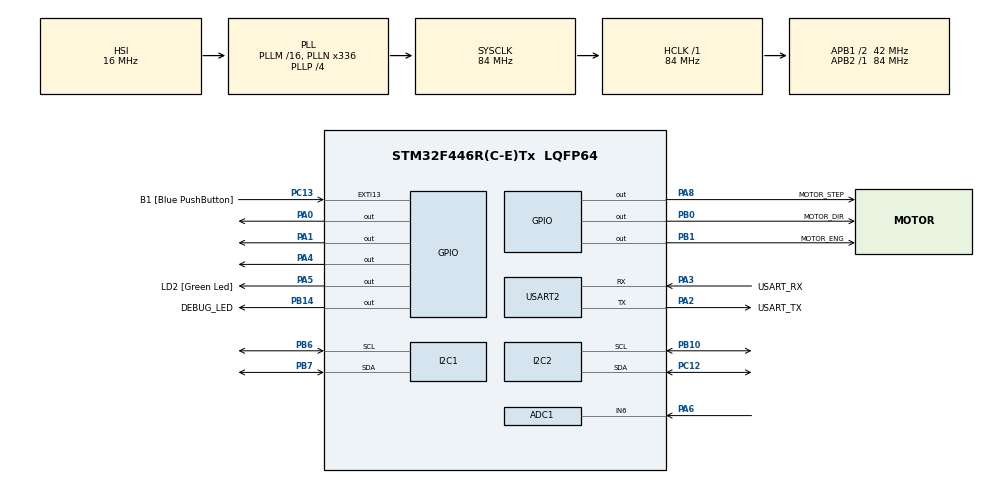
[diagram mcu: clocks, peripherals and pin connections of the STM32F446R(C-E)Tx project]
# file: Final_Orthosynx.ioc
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ADC1.Channel-0\#ChannelRegularConversion=ADC_CHANNEL_6
ADC1.NbrOfConversionFlag=1
ADC1.Rank-0\#ChannelRegularConversion=1
ADC1.SamplingTime-0\#ChannelRegularConversion=ADC_SAMPLETIME_3CYCLES
ADC1.master=1
Dma.I2C2_RX.1.Direction=DMA_PERIPH_TO_MEMORY
Dma.I2C2_RX.1.FIFOMode=DMA_FIFOMODE_DISABLE
Dma.I2C2_RX.1.Instance=DMA1_Stream2
Dma.I2C2_RX.1.MemDataAlignment=DMA_MDATAALIGN_BYTE
Dma.I2C2_RX.1.MemInc=DMA_MINC_ENABLE
Dma.I2C2_RX.1.Mode=DMA_NORMAL
Dma.I2C2_RX.1.PeriphDataAlignment=DMA_PDATAALIGN_BYTE
Dma.I2C2_RX.1.PeriphInc=DMA_PINC_DISABLE
Dma.I2C2_RX.1.Priority=DMA_PRIORITY_LOW
Dma.I2C2_TX.2.Direction=DMA_MEMORY_TO_PERIPH
Dma.I2C2_TX.2.FIFOMode=DMA_FIFOMODE_DISABLE
Dma.I2C2_TX.2.Instance=DMA1_Stream7
Dma.I2C2_TX.2.MemDataAlignment=DMA_MDATAALIGN_BYTE
Dma.I2C2_TX.2.MemInc=DMA_MINC_ENABLE
Dma.I2C2_TX.2.Mode=DMA_NORMAL
Dma.I2C2_TX.2.PeriphDataAlignment=DMA_PDATAALIGN_BYTE
Dma.I2C2_TX.2.PeriphInc=DMA_PINC_DISABLE
Dma.I2C2_TX.2.Priority=DMA_PRIORITY_LOW
Dma.Request0=USART2_TX
Dma.Request1=I2C2_RX
Dma.Request2=I2C2_TX
Dma.USART2_TX.0.Direction=DMA_MEMORY_TO_PERIPH
Dma.USART2_TX.0.FIFOMode=DMA_FIFOMODE_DISABLE
Dma.USART2_TX.0.Instance=DMA1_Stream6
Dma.USART2_TX.0.MemDataAlignment=DMA_MDATAALIGN_BYTE
Dma.USART2_TX.0.MemInc=DMA_MINC_ENABLE
Dma.USART2_TX.0.Mode=DMA_NORMAL
Dma.USART2_TX.0.PeriphDataAlignment=DMA_PDATAALIGN_BYTE
Dma.USART2_TX.0.PeriphInc=DMA_PINC_DISABLE
Dma.USART2_TX.0.Priority=DMA_PRIORITY_LOW
Mcu.Family=STM32F4
Mcu.Name=STM32F446R(C-E)Tx
Mcu.Package=LQFP64
NVIC.DMA1_Stream2_IRQn=true\:0\:0\:false\:false\:true\:false\:true\:true
NVIC.DMA1_Stream6_IRQn=true\:0\:0\:false\:false\:true\:false\:true\:true
NVIC.DMA1_Stream7_IRQn=true\:0\:0\:false\:false\:true\:false\:true\:true
NVIC.I2C1_ER_IRQn=true\:0\:0\:false\:false\:true\:true\:true\:true
NVIC.I2C1_EV_IRQn=true\:0\:0\:false\:false\:true\:true\:true\:true
NVIC.I2C2_ER_IRQn=true\:0\:0\:false\:false\:true\:true\:true\:true
NVIC.I2C2_EV_IRQn=true\:0\:0\:false\:false\:true\:true\:true\:true
NVIC.PriorityGroup=NVIC_PRIORITYGROUP_0
NVIC.TIM2_IRQn=true\:0\:0\:false\:false\:true\:true\:true\:true
NVIC.TIM3_IRQn=true\:0\:0\:false\:false\:true\:true\:true\:true
NVIC.USART2_IRQn=true\:0\:0\:false\:false\:true\:true\:true\:true
PA0-WKUP.Signal=GPIO_Output
PA1.Signal=GPIO_Output
PA13.GPIO_Label=TMS
PA13.Mode=Serial_Wire
PA13.Signal=SYS_JTMS-SWDIO
PA14.GPIO_Label=TCK
PA14.Mode=Serial_Wire
PA14.Signal=SYS_JTCK-SWCLK
PA2.GPIO_Label=USART_TX
PA2.Mode=Asynchronous
PA2.Signal=USART2_TX
PA3.GPIO_Label=USART_RX
PA3.Mode=Asynchronous
PA3.Signal=USART2_RX
PA4.Signal=GPIO_Output
PA5.GPIO_Label=LD2 [Green Led]
PA5.Signal=GPIO_Output
PA6.Signal=ADCx_IN6
PA8.GPIO_Label=MOTOR_STEP
PA8.Signal=GPIO_Output
PB0.GPIO_Label=MOTOR_DIR
PB0.Signal=GPIO_Output
PB1.GPIO_Label=MOTOR_ENG
PB1.Signal=GPIO_Output
PB10.Mode=I2C
PB10.Signal=I2C2_SCL
PB14.GPIO_Label=DEBUG_LED
PB14.Signal=GPIO_Output
PB3.GPIO_Label=SWO
PB3.Signal=SYS_JTDO-SWO
PB6.Mode=I2C
PB6.Signal=I2C1_SCL
PB7.Mode=I2C
PB7.Signal=I2C1_SDA
PC12.Mode=I2C
PC12.Signal=I2C2_SDA
PC13.GPIO_Label=B1 [Blue PushButton]
PC13.GPIO_ModeDefaultEXTI=GPIO_MODE_IT_FALLING
PC13.Signal=GPXTI13
PC14-OSC32_IN.Mode=LSE-External-Oscillator
PC14-OSC32_IN.Signal=RCC_OSC32_IN
PC15-OSC32_OUT.Mode=LSE-External-Oscillator
PC15-OSC32_OUT.Signal=RCC_OSC32_OUT
PH0-OSC_IN.Mode=HSE-External-Oscillator
PH0-OSC_IN.Signal=RCC_OSC_IN
PH1-OSC_OUT.Mode=HSE-External-Oscillator
PH1-OSC_OUT.Signal=RCC_OSC_OUT
ProjectManager.HeapSize=0x200
ProjectManager.StackSize=0x400
ProjectManager.TargetToolchain=STM32CubeIDE
RCC.48MHZClocksFreq_Value=84000000
RCC.AHBFreq_Value=84000000
RCC.APB1CLKDivider=RCC_HCLK_DIV2
RCC.APB1Freq_Value=42000000
RCC.APB1TimFreq_Value=84000000
RCC.APB2Freq_Value=84000000
RCC.APB2TimFreq_Value=84000000
RCC.CortexFreq_Value=84000000
RCC.FLatency-AdvancedSettings=FLASH_LATENCY_2
RCC.HCLKFreq_Value=84000000
RCC.HSE_VALUE=8000000
RCC.HSI_VALUE=16000000
RCC.PLLN=336
RCC.PLLP=RCC_PLLP_DIV4
RCC.SYSCLKFreq_VALUE=84000000
RCC.SYSCLKSource=RCC_SYSCLKSOURCE_PLLCLK
RCC.USBFreq_Value=168000000
RCC.VCOOutputFreq_Value=336000000
SH.ADCx_IN6.0=ADC1_IN6,IN6
TIM3.Period=99
USART2.OverSampling=UART_OVERSAMPLING_8
USART2.VirtualMode=VM_ASYNC
VP_TIM2_VS_ClockSourceINT.Mode=Internal
VP_TIM3_VS_ClockSourceINT.Mode=Internal
VP_WWDG_VS_WWDG.Mode=WWDG_Activate
board=NUCLEO-F446RE

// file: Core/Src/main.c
/* USER CODE BEGIN Header */
/**
  ******************************************************************************
  * @file           : bno055_final.c
  * @brief          : Main program body
  ******************************************************************************
  * @attention
  *
  * Copyright (c) 2025 STMicroelectronics.
  * All rights reserved.
  *
  * This software is licensed under terms that can be found in the LICENSE file
  * in the root directory of this software component.
  * If no LICENSE file comes with this software, it is provided AS-IS.
  *
  ******************************************************************************
  */
/* USER CODE END Header */
#include "main.h"

ADC_HandleTypeDef hadc1;

I2C_HandleTypeDef hi2c1;
I2C_HandleTypeDef hi2c2;
DMA_HandleTypeDef hdma_i2c2_rx;
DMA_HandleTypeDef hdma_i2c2_tx;

TIM_HandleTypeDef htim2;
TIM_HandleTypeDef htim3;

UART_HandleTypeDef huart2;
DMA_HandleTypeDef hdma_usart2_tx;

WWDG_HandleTypeDef hwwdg;

void SystemClock_Config(void);
static void MX_GPIO_Init(void);
static void MX_DMA_Init(void);
static void MX_USART2_UART_Init(void);
static void MX_I2C1_Init(void);
static void MX_I2C2_Init(void);
static void MX_TIM3_Init(void);
static void MX_WWDG_Init(void);
static void MX_ADC1_Init(void);
static void MX_TIM2_Init(void);

/* USER CODE BEGIN 0 */
int __io_putchar(int ch) {
HAL_UART_Transmit(&huart2, (uint8_t *)&ch, 1, HAL_MAX_DELAY);
return ch;
}
/* USER CODE END 0 */

int main(void)
{

  /* MCU Configuration--------------------------------------------------------*/

  /* Reset of all peripherals, Initializes the Flash interface and the Systick. */
  HAL_Init();

  /* Configure the system clock */
  SystemClock_Config();

  /* Initialize all configured peripherals */
  MX_GPIO_Init();
  MX_DMA_Init();
  MX_USART2_UART_Init();
  MX_I2C1_Init();
  MX_I2C2_Init();
  MX_TIM3_Init();
  MX_WWDG_Init();
  MX_ADC1_Init();
  MX_TIM2_Init();
  /* USER CODE BEGIN 2 */
  // Configure interrupt priorities
  HAL_NVIC_SetPriority(I2C1_EV_IRQn, 1, 0); // I2C1 Event
  HAL_NVIC_SetPriority(I2C1_ER_IRQn, 0, 0); // I2C1 Error (highest priority)
  HAL_NVIC_SetPriority(I2C2_EV_IRQn, 1, 0); // I2C2 Event
  HAL_NVIC_SetPriority(I2C2_ER_IRQn, 0, 0); // I2C2 Error (highest priority)
  HAL_NVIC_SetPriority(USART2_IRQn, 1, 0); // USART2 global interrupt
  HAL_NVIC_SetPriority(TIM3_IRQn, 2, 0); // Timer3 (lower priority)
  HAL_NVIC_SetPriority(WWDG_IRQn, 0, 0); // Watchdog (highest priority)
  HAL_NVIC_SetPriority(EXTI15_10_IRQn, 2, 0); // User Button
  // Configure DMA interrupt priorities
  HAL_NVIC_SetPriority(DMA1_Stream2_IRQn, 0, 0); // I2C2_RX
  HAL_NVIC_SetPriority(DMA1_Stream7_IRQn, 0, 0); // I2C2_TX
  HAL_NVIC_SetPriority(DMA1_Stream6_IRQn, 0, 0); // USART2_TX
  // Configure I2C noise filtering
  HAL_I2CEx_ConfigAnalogFilter(&hi2c1, I2C_ANALOGFILTER_ENABLE);
  HAL_I2CEx_ConfigDigitalFilter(&hi2c1, 3);
  HAL_I2CEx_ConfigAnalogFilter(&hi2c2, I2C_ANALOGFILTER_ENABLE);
  HAL_I2CEx_ConfigDigitalFilter(&hi2c2, 3);
  // Configure printf buffering
  setbuf(stdout, NULL); // Disable buffering for immediate output
  // Initialize Debug LED to OFF
  HAL_GPIO_WritePin(GPIOB, GPIO_PIN_14, GPIO_PIN_RESET);
  // Print startup message
  printf("Prosthetic Knee Controller Starting...\r\n");
  printf("Clock: %lu MHz\r\n", HAL_RCC_GetSysClockFreq()/1000000);
  /* USER CODE END 2 */

  /* Infinite loop */
  while (1)
  {

  }
}

void SystemClock_Config(void)
{
  RCC_OscInitTypeDef RCC_OscInitStruct = {0};
  RCC_ClkInitTypeDef RCC_ClkInitStruct = {0};

  /** Configure the main internal regulator output voltage
  */
  __HAL_RCC_PWR_CLK_ENABLE();
  __HAL_PWR_VOLTAGESCALING_CONFIG(PWR_REGULATOR_VOLTAGE_SCALE3);

  /** Initializes the RCC Oscillators according to the specified parameters
  * in the RCC_OscInitTypeDef structure.
  */
  RCC_OscInitStruct.OscillatorType = RCC_OSCILLATORTYPE_HSI;
  RCC_OscInitStruct.HSIState = RCC_HSI_ON;
  RCC_OscInitStruct.HSICalibrationValue = RCC_HSICALIBRATION_DEFAULT;
  RCC_OscInitStruct.PLL.PLLState = RCC_PLL_ON;
  RCC_OscInitStruct.PLL.PLLSource = RCC_PLLSOURCE_HSI;
  RCC_OscInitStruct.PLL.PLLM = 16;
  RCC_OscInitStruct.PLL.PLLN = 336;
  RCC_OscInitStruct.PLL.PLLP = RCC_PLLP_DIV4;
  RCC_OscInitStruct.PLL.PLLQ = 2;
  RCC_OscInitStruct.PLL.PLLR = 2;
  if (HAL_RCC_OscConfig(&RCC_OscInitStruct) != HAL_OK)
  {
    Error_Handler();
  }

  /** Initializes the CPU, AHB and APB buses clocks
  */
  RCC_ClkInitStruct.ClockType = RCC_CLOCKTYPE_HCLK|RCC_CLOCKTYPE_SYSCLK
                              |RCC_CLOCKTYPE_PCLK1|RCC_CLOCKTYPE_PCLK2;
  RCC_ClkInitStruct.SYSCLKSource = RCC_SYSCLKSOURCE_PLLCLK;
  RCC_ClkInitStruct.AHBCLKDivider = RCC_SYSCLK_DIV1;
  RCC_ClkInitStruct.APB1CLKDivider = RCC_HCLK_DIV2;
  RCC_ClkInitStruct.APB2CLKDivider = RCC_HCLK_DIV1;

  if (HAL_RCC_ClockConfig(&RCC_ClkInitStruct, FLASH_LATENCY_2) != HAL_OK)
  {
    Error_Handler();
  }
}

static void MX_ADC1_Init(void)
{

  ADC_ChannelConfTypeDef sConfig = {0};

  /** Configure the global features of the ADC (Clock, Resolution, Data Alignment and number of conversion)
  */
  hadc1.Instance = ADC1;
  hadc1.Init.ClockPrescaler = ADC_CLOCK_SYNC_PCLK_DIV4;
  hadc1.Init.Resolution = ADC_RESOLUTION_12B;
  hadc1.Init.ScanConvMode = DISABLE;
  hadc1.Init.ContinuousConvMode = DISABLE;
  hadc1.Init.DiscontinuousConvMode = DISABLE;
  hadc1.Init.ExternalTrigConvEdge = ADC_EXTERNALTRIGCONVEDGE_NONE;
  hadc1.Init.ExternalTrigConv = ADC_SOFTWARE_START;
  hadc1.Init.DataAlign = ADC_DATAALIGN_RIGHT;
  hadc1.Init.NbrOfConversion = 1;
  hadc1.Init.DMAContinuousRequests = DISABLE;
  hadc1.Init.EOCSelection = ADC_EOC_SINGLE_CONV;
  if (HAL_ADC_Init(&hadc1) != HAL_OK)
  {
    Error_Handler();
  }

  /** Configure for the selected ADC regular channel its corresponding rank in the sequencer and its sample time.
  */
  sConfig.Channel = ADC_CHANNEL_6;
  sConfig.Rank = 1;
  sConfig.SamplingTime = ADC_SAMPLETIME_3CYCLES;
  if (HAL_ADC_ConfigChannel(&hadc1, &sConfig) != HAL_OK)
  {
    Error_Handler();
  }

}

static void MX_I2C1_Init(void)
{

  hi2c1.Instance = I2C1;
  hi2c1.Init.ClockSpeed = 100000;
  hi2c1.Init.DutyCycle = I2C_DUTYCYCLE_2;
  hi2c1.Init.OwnAddress1 = 0;
  hi2c1.Init.AddressingMode = I2C_ADDRESSINGMODE_7BIT;
  hi2c1.Init.DualAddressMode = I2C_DUALADDRESS_DISABLE;
  hi2c1.Init.OwnAddress2 = 0;
  hi2c1.Init.GeneralCallMode = I2C_GENERALCALL_DISABLE;
  hi2c1.Init.NoStretchMode = I2C_NOSTRETCH_DISABLE;
  if (HAL_I2C_Init(&hi2c1) != HAL_OK)
  {
    Error_Handler();
  }

}

static void MX_I2C2_Init(void)
{

  hi2c2.Instance = I2C2;
  hi2c2.Init.ClockSpeed = 100000;
  hi2c2.Init.DutyCycle = I2C_DUTYCYCLE_2;
  hi2c2.Init.OwnAddress1 = 0;
  hi2c2.Init.AddressingMode = I2C_ADDRESSINGMODE_7BIT;
  hi2c2.Init.DualAddressMode = I2C_DUALADDRESS_DISABLE;
  hi2c2.Init.OwnAddress2 = 0;
  hi2c2.Init.GeneralCallMode = I2C_GENERALCALL_DISABLE;
  hi2c2.Init.NoStretchMode = I2C_NOSTRETCH_DISABLE;
  if (HAL_I2C_Init(&hi2c2) != HAL_OK)
  {
    Error_Handler();
  }

}

static void MX_TIM2_Init(void)
{

  TIM_ClockConfigTypeDef sClockSourceConfig = {0};
  TIM_MasterConfigTypeDef sMasterConfig = {0};

  htim2.Instance = TIM2;
  htim2.Init.Prescaler = 0;
  htim2.Init.CounterMode = TIM_COUNTERMODE_UP;
  htim2.Init.Period = 4294967295;
  htim2.Init.ClockDivision = TIM_CLOCKDIVISION_DIV1;
  htim2.Init.AutoReloadPreload = TIM_AUTORELOAD_PRELOAD_DISABLE;
  if (HAL_TIM_Base_Init(&htim2) != HAL_OK)
  {
    Error_Handler();
  }
  sClockSourceConfig.ClockSource = TIM_CLOCKSOURCE_INTERNAL;
  if (HAL_TIM_ConfigClockSource(&htim2, &sClockSourceConfig) != HAL_OK)
  {
    Error_Handler();
  }
  sMasterConfig.MasterOutputTrigger = TIM_TRGO_RESET;
  sMasterConfig.MasterSlaveMode = TIM_MASTERSLAVEMODE_DISABLE;
  if (HAL_TIMEx_MasterConfigSynchronization(&htim2, &sMasterConfig) != HAL_OK)
  {
    Error_Handler();
  }

}

static void MX_TIM3_Init(void)
{

  TIM_ClockConfigTypeDef sClockSourceConfig = {0};
  TIM_MasterConfigTypeDef sMasterConfig = {0};

  htim3.Instance = TIM3;
  htim3.Init.Prescaler = 0;
  htim3.Init.CounterMode = TIM_COUNTERMODE_UP;
  htim3.Init.Period = 99;
  htim3.Init.ClockDivision = TIM_CLOCKDIVISION_DIV1;
  htim3.Init.AutoReloadPreload = TIM_AUTORELOAD_PRELOAD_DISABLE;
  if (HAL_TIM_Base_Init(&htim3) != HAL_OK)
  {
    Error_Handler();
  }
  sClockSourceConfig.ClockSource = TIM_CLOCKSOURCE_INTERNAL;
  if (HAL_TIM_ConfigClockSource(&htim3, &sClockSourceConfig) != HAL_OK)
  {
    Error_Handler();
  }
  sMasterConfig.MasterOutputTrigger = TIM_TRGO_RESET;
  sMasterConfig.MasterSlaveMode = TIM_MASTERSLAVEMODE_DISABLE;
  if (HAL_TIMEx_MasterConfigSynchronization(&htim3, &sMasterConfig) != HAL_OK)
  {
    Error_Handler();
  }

}

static void MX_USART2_UART_Init(void)
{

  huart2.Instance = USART2;
  huart2.Init.BaudRate = 115200;
  huart2.Init.WordLength = UART_WORDLENGTH_8B;
  huart2.Init.StopBits = UART_STOPBITS_1;
  huart2.Init.Parity = UART_PARITY_NONE;
  huart2.Init.Mode = UART_MODE_TX_RX;
  huart2.Init.HwFlowCtl = UART_HWCONTROL_NONE;
  huart2.Init.OverSampling = UART_OVERSAMPLING_8;
  if (HAL_UART_Init(&huart2) != HAL_OK)
  {
    Error_Handler();
  }

}

static void MX_WWDG_Init(void)
{

  hwwdg.Instance = WWDG;
  hwwdg.Init.Prescaler = WWDG_PRESCALER_1;
  hwwdg.Init.Window = 64;
  hwwdg.Init.Counter = 64;
  hwwdg.Init.EWIMode = WWDG_EWI_DISABLE;
  if (HAL_WWDG_Init(&hwwdg) != HAL_OK)
  {
    Error_Handler();
  }

}

static void MX_DMA_Init(void)
{

  /* DMA controller clock enable */
  __HAL_RCC_DMA1_CLK_ENABLE();

  /* DMA interrupt init */
  /* DMA1_Stream2_IRQn interrupt configuration */
  HAL_NVIC_SetPriority(DMA1_Stream2_IRQn, 0, 0);
  HAL_NVIC_EnableIRQ(DMA1_Stream2_IRQn);
  /* DMA1_Stream6_IRQn interrupt configuration */
  HAL_NVIC_SetPriority(DMA1_Stream6_IRQn, 0, 0);
  HAL_NVIC_EnableIRQ(DMA1_Stream6_IRQn);
  /* DMA1_Stream7_IRQn interrupt configuration */
  HAL_NVIC_SetPriority(DMA1_Stream7_IRQn, 0, 0);
  HAL_NVIC_EnableIRQ(DMA1_Stream7_IRQn);

}

static void MX_GPIO_Init(void)
{
  GPIO_InitTypeDef GPIO_InitStruct = {0};

  /* GPIO Ports Clock Enable */
  __HAL_RCC_GPIOC_CLK_ENABLE();
  __HAL_RCC_GPIOH_CLK_ENABLE();
  __HAL_RCC_GPIOA_CLK_ENABLE();
  __HAL_RCC_GPIOB_CLK_ENABLE();

  /*Configure GPIO pin Output Level */
  HAL_GPIO_WritePin(GPIOA, GPIO_PIN_0|GPIO_PIN_1|GPIO_PIN_4|LD2_Pin
                          |MOTOR_STEP_Pin, GPIO_PIN_RESET);

  /*Configure GPIO pin Output Level */
  HAL_GPIO_WritePin(GPIOB, MOTOR_DIR_Pin|MOTOR_ENG_Pin|DEBUG_LED_Pin, GPIO_PIN_RESET);

  /*Configure GPIO pin : B1_Pin */
  GPIO_InitStruct.Pin = B1_Pin;
  GPIO_InitStruct.Mode = GPIO_MODE_IT_FALLING;
  GPIO_InitStruct.Pull = GPIO_NOPULL;
  HAL_GPIO_Init(B1_GPIO_Port, &GPIO_InitStruct);

  /*Configure GPIO pins : PA0 PA1 PA4 LD2_Pin
                           MOTOR_STEP_Pin */
  GPIO_InitStruct.Pin = GPIO_PIN_0|GPIO_PIN_1|GPIO_PIN_4|LD2_Pin
                          |MOTOR_STEP_Pin;
  GPIO_InitStruct.Mode = GPIO_MODE_OUTPUT_PP;
  GPIO_InitStruct.Pull = GPIO_NOPULL;
  GPIO_InitStruct.Speed = GPIO_SPEED_FREQ_LOW;
  HAL_GPIO_Init(GPIOA, &GPIO_InitStruct);

  /*Configure GPIO pins : MOTOR_DIR_Pin MOTOR_ENG_Pin DEBUG_LED_Pin */
  GPIO_InitStruct.Pin = MOTOR_DIR_Pin|MOTOR_ENG_Pin|DEBUG_LED_Pin;
  GPIO_InitStruct.Mode = GPIO_MODE_OUTPUT_PP;
  GPIO_InitStruct.Pull = GPIO_NOPULL;
  GPIO_InitStruct.Speed = GPIO_SPEED_FREQ_LOW;
  HAL_GPIO_Init(GPIOB, &GPIO_InitStruct);

}

/* USER CODE BEGIN 4 */

// User Button Interrupt Handler
void HAL_GPIO_EXTI_Callback(uint16_t GPIO_Pin)
{
if(GPIO_Pin == GPIO_PIN_13) // User Button
{
// Toggle Debug LED on button press
HAL_GPIO_TogglePin(GPIOB, GPIO_PIN_14);
printf("User Button Pressed\r\n");
}
}

/* USER CODE END 4 */

void Error_Handler(void)
{
  __disable_irq();
  while (1)
  {
  }
}
